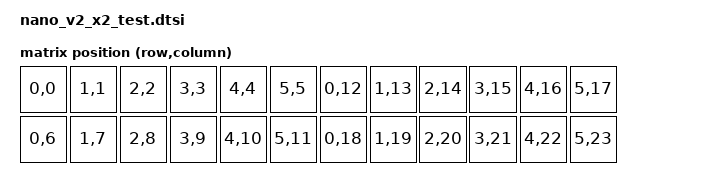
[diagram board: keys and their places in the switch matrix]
/*
 * Copyright (c) 2023 The ZMK Contributors
 *
 * SPDX-License-Identifier: MIT
 */

#include <dt-bindings/zmk/matrix_transform.h>
#include <dt-bindings/led/led.h>

/ {

    chosen {
        zmk,matrix-transform = &default_transform;
    };

    default_transform: keymap_transform_0 {
        compatible = "zmk,matrix-transform";
        columns = <24>;
        rows = <6>;
//	|Tab |Q   |W   |E   |R   |T   |    |Y   |U   |I   |O   |P   |[   |
//	|Caps|A   |S   |D   |F   |G   |    |H   |J   |K   |L   |;   |'   |


        map = <
RC(0,0) RC(1,1) RC(2,2) RC(3,3) RC(4,4)  RC(5,5)       RC(0,12) RC(1,13) RC(2,14) RC(3,15) RC(4,16) RC(5,17) 
RC(0,6) RC(1,7) RC(2,8) RC(3,9) RC(4,10) RC(5,11)      RC(0,18) RC(1,19) RC(2,20) RC(3,21) RC(4,22) RC(5,23) 

        >;
    };

};

